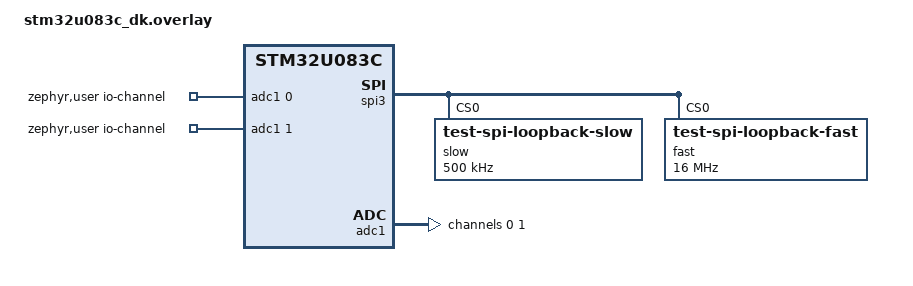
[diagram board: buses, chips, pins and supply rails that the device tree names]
/*
 * Copyright (c) 2025 STMicroelectronics
 *
 * SPDX-License-Identifier: Apache-2.0
 */

&spi3 {
	dmas = <&dmamux1 2 41 (STM32_DMA_PERIPH_TX | STM32_DMA_PRIORITY_HIGH)>,
	       <&dmamux1 1 40 (STM32_DMA_PERIPH_RX | STM32_DMA_PRIORITY_HIGH)>;
	dma-names = "tx", "rx";

	slow@0 {
		compatible = "test-spi-loopback-slow";
		reg = <0>;
		spi-max-frequency = <500000>;
	};

	fast@0 {
		compatible = "test-spi-loopback-fast";
		reg = <0>;
		spi-max-frequency = <16000000>;
	};
};

&dma1 {
	status = "okay";
};

&dma2 {
	status = "okay";
};

&dmamux1 {
	status = "okay";
};

/ {
	zephyr,user {
		io-channels = <&adc1 0>, <&adc1 1>;
	};
};

&adc1 {
	#address-cells = <1>;
	#size-cells = <0>;
	channel@0 {
		reg = <0>;
		zephyr,gain = "ADC_GAIN_1";
		zephyr,reference = "ADC_REF_INTERNAL";
		zephyr,acquisition-time = <ADC_ACQ_TIME_MAX>;
		zephyr,resolution = <12>;
	};
	channel@1 {
		reg = <1>;
		zephyr,gain = "ADC_GAIN_1";
		zephyr,reference = "ADC_REF_INTERNAL";
		zephyr,acquisition-time = <ADC_ACQ_TIME_MAX>;
		zephyr,resolution = <12>;
	};
};

dut: &usart3 {
	dmas = <&dmamux1 5 74 STM32_DMA_PERIPH_TX>,
	       <&dmamux1 4 73 STM32_DMA_PERIPH_RX>;
	dma-names = "tx", "rx";
};
